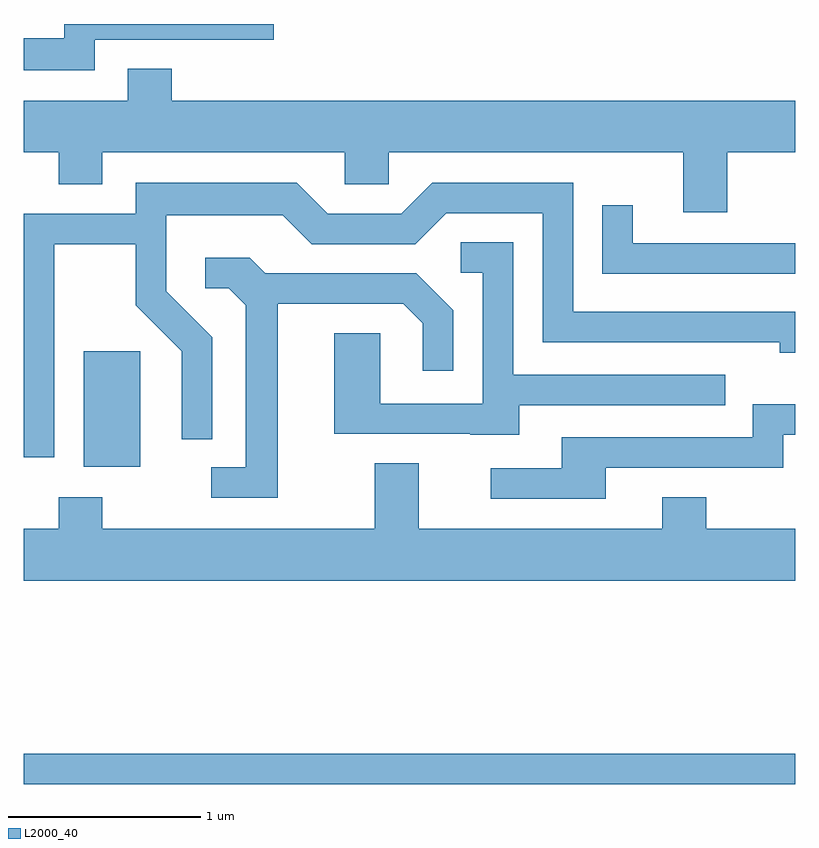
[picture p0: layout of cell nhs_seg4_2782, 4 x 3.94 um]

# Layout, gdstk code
import gdstk
lib = gdstk.Library(unit=1e-6, precision=1e-09)
def R(c, l, rs):  # rectangles x0, y0, x1, y1
    for r in rs: c.add(gdstk.rectangle(r[:2], r[2:], *l))
def P(c, l, *ps):  # polygons
    for p in ps: c.add(gdstk.Polygon(p, *l))
L2000_40 = (2000, 40)

nhs_seg4_2782 = lib.new_cell('nhs_seg4_2782')
R(nhs_seg4_2782, L2000_40, [(265.611,1378.041,269.611,1378.199), (265.921,1379.686,266.214,1380.284)])
P(nhs_seg4_2782, L2000_40, [(265.979,1381.901),(266.908,1381.901),(266.908,1381.982),(265.821,1381.982),(265.821,1381.909),(265.611,1381.909),(265.611,1381.741),(265.979,1381.741)],
  [(269.259,1381.316),(269.611,1381.316),(269.611,1381.584),(266.379,1381.584),(266.379,1381.749),(266.151,1381.749),(266.151,1381.584),(265.611,1381.584),(265.611,1381.316),(265.791,1381.316),(265.791,1381.151),(266.019,1381.151),(266.019,1381.316),(267.276,1381.316),(267.276,1381.151),(267.504,1381.151),(267.504,1381.316),(269.031,1381.316),(269.031,1381.006),(269.259,1381.006)],
  [(265.769,1380.841),(266.191,1380.841),(266.191,1380.524),(266.431,1380.284),(266.431,1379.828),(266.589,1379.828),(266.589,1380.357),(266.349,1380.597),(266.349,1380.991),(266.954,1380.991),(267.104,1380.841),(267.642,1380.841),(267.802,1381.001),(268.301,1381.001),(268.301,1380.331),(269.531,1380.331),(269.531,1380.276),(269.611,1380.276),(269.611,1380.489),(268.459,1380.489),(268.459,1381.159),(267.729,1381.159),(267.569,1380.999),(267.187,1380.999),(267.027,1381.159),(266.191,1381.159),(266.191,1380.999),(265.611,1380.999),(265.611,1379.736),(265.769,1379.736)],
  [(269.611,1380.844),(268.769,1380.844),(268.769,1381.043),(268.611,1381.043),(268.611,1380.686),(269.611,1380.686)],
  [(268.179,1380.006),(269.248,1380.006),(269.248,1380.164),(268.149,1380.164),(268.149,1380.849),(267.878,1380.849),(267.878,1380.691),(267.991,1380.691),(267.991,1380.014),(267.459,1380.014),(267.459,1380.379),(267.221,1380.379),(267.221,1379.856),(267.925,1379.856),(267.925,1379.851),(268.179,1379.851)],
  [(266.929,1380.531),(267.579,1380.531),(267.681,1380.429),(267.681,1380.183),(267.839,1380.183),(267.839,1380.497),(267.647,1380.689),(266.862,1380.689),(266.782,1380.769),(266.553,1380.769),(266.553,1380.611),(266.674,1380.611),(266.761,1380.524),(266.761,1379.684),(266.583,1379.684),(266.583,1379.526),(266.929,1379.526)],
  [(268.629,1379.681),(269.549,1379.681),(269.549,1379.851),(269.611,1379.851),(269.611,1380.009),(269.391,1380.009),(269.391,1379.839),(268.401,1379.839),(268.401,1379.679),(268.033,1379.679),(268.033,1379.521),(268.629,1379.521)],
  [(269.611,1379.364),(269.149,1379.364),(269.149,1379.529),(268.921,1379.529),(268.921,1379.364),(267.659,1379.364),(267.659,1379.704),(267.431,1379.704),(267.431,1379.364),(266.019,1379.364),(266.019,1379.529),(265.791,1379.529),(265.791,1379.364),(265.611,1379.364),(265.611,1379.096),(269.611,1379.096)])

lib.write_gds('nhs_seg4_2782.gds')
